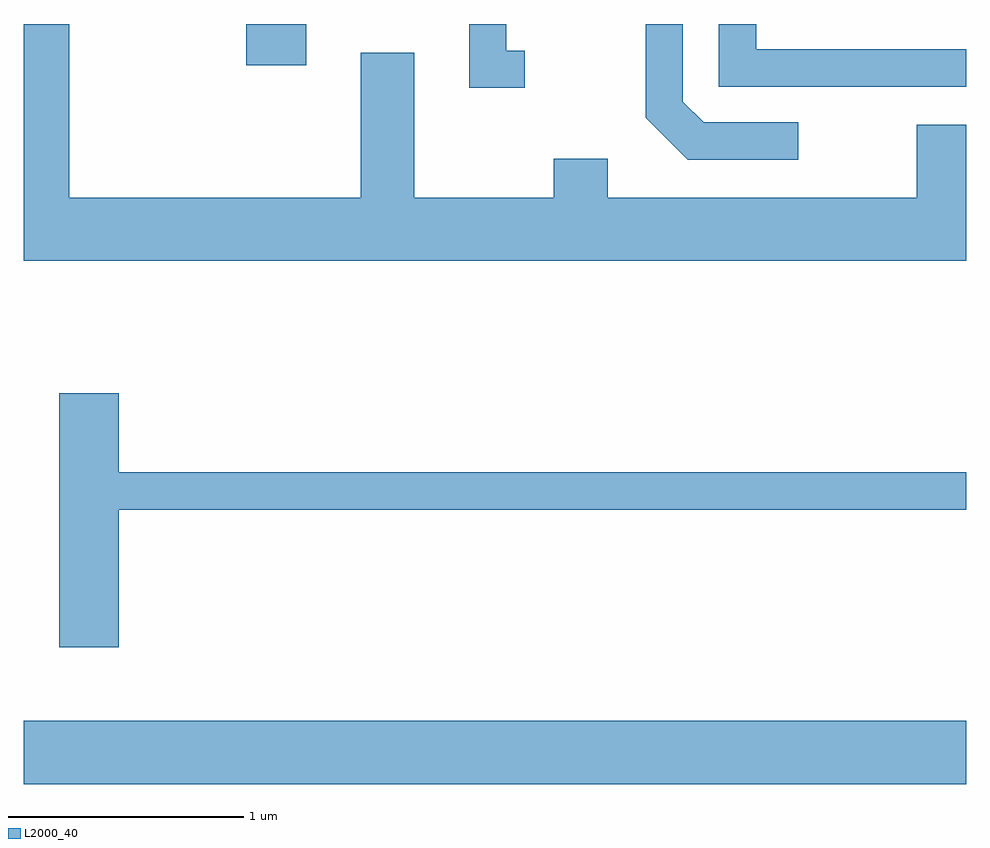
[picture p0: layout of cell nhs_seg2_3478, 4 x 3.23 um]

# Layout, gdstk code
import gdstk
lib = gdstk.Library(unit=1e-6, precision=1e-09)
def R(c, l, rs):  # rectangles x0, y0, x1, y1
    for r in rs: c.add(gdstk.rectangle(r[:2], r[2:], *l))
def P(c, l, *ps):  # polygons
    for p in ps: c.add(gdstk.Polygon(p, *l))
L2000_40 = (2000, 40)

nhs_seg2_3478 = lib.new_cell('nhs_seg2_3478')
R(nhs_seg2_3478, L2000_40, [(287.611,1010.576,291.611,1010.844), (288.556,1013.626,288.809,1013.802)])
P(nhs_seg2_3478, L2000_40, [(291.611,1013.374),(291.401,1013.374),(291.401,1013.064),(290.089,1013.064),(290.089,1013.229),(289.861,1013.229),(289.861,1013.064),(289.269,1013.064),(289.269,1013.679),(289.041,1013.679),(289.041,1013.064),(287.804,1013.064),(287.804,1013.802),(287.611,1013.802),(287.611,1012.796),(291.611,1012.796)],
  [(289.738,1013.689),(289.659,1013.689),(289.659,1013.802),(289.501,1013.802),(289.501,1013.531),(289.738,1013.531)],
  [(291.611,1013.694),(290.719,1013.694),(290.719,1013.802),(290.561,1013.802),(290.561,1013.536),(291.611,1013.536)],
  [(290.898,1013.384),(290.497,1013.384),(290.409,1013.472),(290.409,1013.802),(290.251,1013.802),(290.251,1013.404),(290.429,1013.226),(290.898,1013.226)],
  [(288.014,1011.741),(291.611,1011.741),(291.611,1011.899),(288.014,1011.899),(288.014,1012.234),(287.761,1012.234),(287.761,1011.156),(288.014,1011.156)])

lib.write_gds('nhs_seg2_3478.gds')
